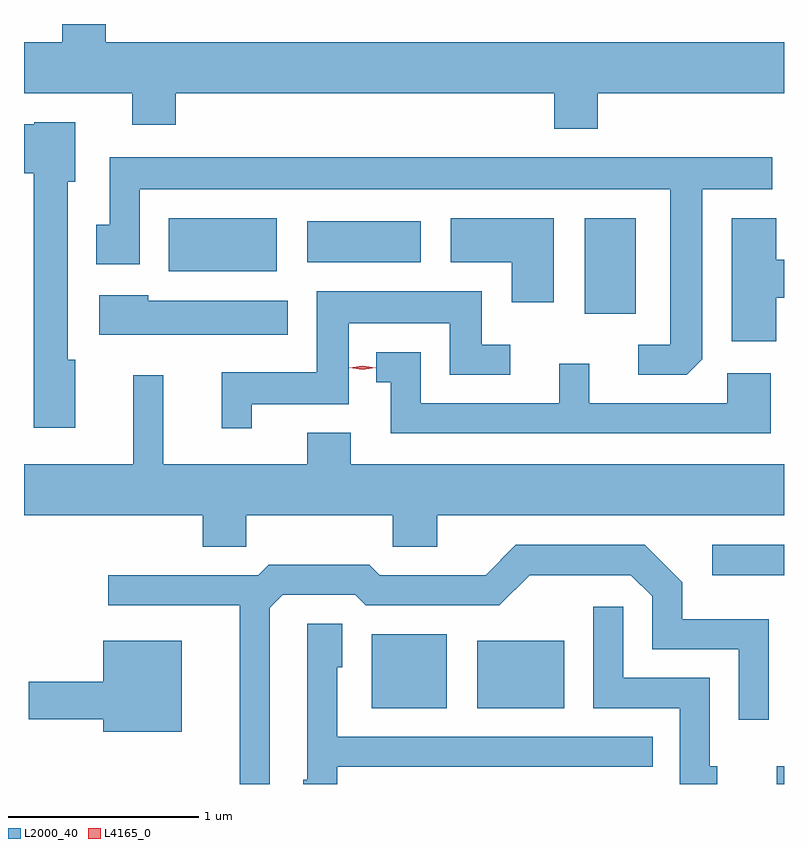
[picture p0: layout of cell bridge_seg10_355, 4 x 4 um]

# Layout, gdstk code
import gdstk
lib = gdstk.Library(unit=1e-6, precision=1e-09)
def R(c, l, rs):  # rectangles x0, y0, x1, y1
    for r in rs: c.add(gdstk.rectangle(r[:2], r[2:], *l))
def P(c, l, *ps):  # polygons
    for p in ps: c.add(gdstk.Polygon(p, *l))
L2000_40 = (2000, 40)
L4165_0 = (4165, 0)

bridge_seg10_355 = lib.new_cell('bridge_seg10_355')
R(bridge_seg10_355, L2000_40, [(1107.201,2085.861,1107.24,2085.954), (1105.071,2086.261,1105.464,2086.649), (1105.626,2086.261,1106.084,2086.614), (1106.863,2086.961,1107.24,2087.119), (1106.191,2088.336,1106.459,2088.839), (1104.001,2088.561,1104.569,2088.839), (1104.731,2088.606,1105.329,2088.824)])
P(bridge_seg10_355, L2000_40, [(1106.259,2089.496),(1107.24,2089.496),(1107.24,2089.764),(1103.669,2089.764),(1103.669,2089.861),(1103.441,2089.861),(1103.441,2089.764),(1103.24,2089.764),(1103.24,2089.496),(1103.811,2089.496),(1103.811,2089.331),(1104.039,2089.331),(1104.039,2089.496),(1106.031,2089.496),(1106.031,2089.311),(1106.259,2089.311)],
  [(1103.509,2088.094),(1103.469,2088.094),(1103.469,2089.031),(1103.509,2089.031),(1103.509,2089.344),(1103.295,2089.344),(1103.295,2089.334),(1103.24,2089.334),(1103.24,2089.076),(1103.291,2089.076),(1103.291,2087.736),(1103.509,2087.736)],
  [(1106.809,2088.097),(1106.809,2088.991),(1107.178,2088.991),(1107.178,2089.159),(1103.691,2089.159),(1103.691,2088.804),(1103.621,2088.804),(1103.621,2088.596),(1103.849,2088.596),(1103.849,2088.991),(1106.641,2088.991),(1106.641,2088.174),(1106.473,2088.174),(1106.473,2088.016),(1106.729,2088.016)],
  [(1107.199,2088.421),(1107.24,2088.421),(1107.24,2088.619),(1107.199,2088.619),(1107.199,2088.839),(1106.966,2088.839),(1106.966,2088.191),(1107.199,2088.191)],
  [(1106.029,2088.839),(1105.486,2088.839),(1105.486,2088.606),(1105.806,2088.606),(1105.806,2088.396),(1106.029,2088.396)],
  [(1104.439,2087.861),(1104.949,2087.861),(1104.949,2088.286),(1105.481,2088.286),(1105.481,2088.016),(1105.798,2088.016),(1105.798,2088.174),(1105.649,2088.174),(1105.649,2088.454),(1104.781,2088.454),(1104.781,2088.029),(1104.281,2088.029),(1104.281,2087.733),(1104.439,2087.733)],
  [(1104.629,2088.404),(1103.894,2088.404),(1103.894,2088.434),(1103.636,2088.434),(1103.636,2088.226),(1104.629,2088.226)],
  [(1107.169,2088.024),(1106.941,2088.024),(1106.941,2087.864),(1106.214,2087.864),(1106.214,2088.073),(1106.056,2088.073),(1106.056,2087.864),(1105.329,2087.864),(1105.329,2088.134),(1105.093,2088.134),(1105.093,2087.976),(1105.171,2087.976),(1105.171,2087.706),(1107.169,2087.706)],
  [(1104.409,2087.276),(1105.181,2087.276),(1105.181,2087.111),(1105.414,2087.111),(1105.414,2087.276),(1107.24,2087.276),(1107.24,2087.544),(1104.959,2087.544),(1104.959,2087.709),(1104.731,2087.709),(1104.731,2087.544),(1103.974,2087.544),(1103.974,2088.012),(1103.816,2088.012),(1103.816,2087.544),(1103.24,2087.544),(1103.24,2087.276),(1104.181,2087.276),(1104.181,2087.111),(1104.409,2087.111)],
  [(1104.534,2086.789),(1104.602,2086.856),(1104.984,2086.856),(1105.039,2086.801),(1105.742,2086.801),(1105.902,2086.961),(1106.434,2086.961),(1106.546,2086.849),(1106.546,2086.571),(1107.001,2086.571),(1107.001,2086.198),(1107.159,2086.198),(1107.159,2086.729),(1106.704,2086.729),(1106.704,2086.922),(1106.507,2087.119),(1105.829,2087.119),(1105.669,2086.959),(1105.112,2086.959),(1105.057,2087.014),(1104.529,2087.014),(1104.474,2086.959),(1103.683,2086.959),(1103.683,2086.801),(1104.376,2086.801),(1104.376,2085.861),(1104.534,2085.861)],
  [(1106.889,2085.954),(1106.849,2085.954),(1106.849,2086.419),(1106.394,2086.419),(1106.394,2086.793),(1106.236,2086.793),(1106.236,2086.261),(1106.691,2086.261),(1106.691,2085.861),(1106.889,2085.861)],
  [(1104.889,2085.951),(1106.548,2085.951),(1106.548,2086.109),(1104.889,2086.109),(1104.889,2086.476),(1104.914,2086.476),(1104.914,2086.704),(1104.731,2086.704),(1104.731,2085.884),(1104.711,2085.884),(1104.711,2085.861),(1104.889,2085.861)],
  [(1104.069,2086.614),(1103.656,2086.614),(1103.656,2086.399),(1103.266,2086.399),(1103.266,2086.201),(1103.656,2086.201),(1103.656,2086.136),(1104.069,2086.136)])
P(bridge_seg10_355, L4165_0, [(1105.022,2088.042),(1104.952,2088.051),(1104.952,2088.052),(1104.952,2088.052),(1105.022,2088.062),(1105.091,2088.052),(1105.091,2088.052),(1105.091,2088.051)])

lib.write_gds('bridge_seg10_355.gds')
